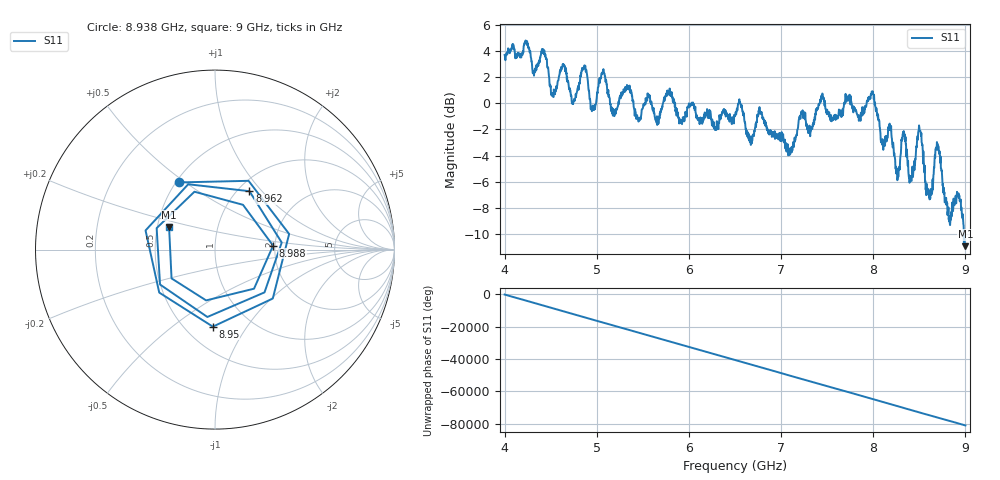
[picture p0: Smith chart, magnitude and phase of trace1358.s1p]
! Created with skrf 1.8.0 (http://scikit-rf.org).
# Hz S RI R 50.0
!freq ReS11 ImS11
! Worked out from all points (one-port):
!   1601 points, 4 GHz to 9 GHz, reference 50 ohm
!   lowest |S11| = -10.9 dB at 9 GHz (marker M1), VSWR 1.80, Z = 28.8 + j7.93 ohm
!   |S11| at or under -10 dB: 8.982568 GHz to 8.986958 GHz (4.39 MHz wide, 0.0489 % of centre); 8.989447 GHz to end of sweep
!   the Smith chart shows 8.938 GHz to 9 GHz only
!   S11 on the Smith chart (normalised r, x): 8.938 GHz: 0.52, +0.47; 8.95 GHz: 0.67, -0.71; 8.962 GHz: 1.13, +0.86; 8.988 GHz: 1.95, +0.10; 9 GHz: 0.58, +0.16
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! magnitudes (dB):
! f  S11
! 4 GHz  3.7
! 4.422 GHz  4.0
! 4.528 GHz  0.5
! 4.625 GHz  2.7
! 4.744 GHz  0.0
! 4.862 GHz  2.7
! 4.956 GHz  -0.2
! 5.062 GHz  2.3
! 5.25 GHz  0.5
! 5.875 GHz  -0.9
! 6.5 GHz  -1.0
! 7.125 GHz  -3.3
! 7.222 GHz  -0.7
! 7.75 GHz  0.2
! 7.988 GHz  0.8
! 8.262 GHz  -5.9
! 8.328 GHz  -2.4
! 8.375 GHz  -4.8
! 8.416 GHz  -5.9
! 8.503 GHz  -2.1
! 8.594 GHz  -6.9
! 8.697 GHz  -3.1
! 8.825 GHz  -9.0
! 8.938 GHz  -7.4
! 8.95 GHz  -7.3
! 8.962 GHz  -8.5
! 8.988 GHz  -9.8
! 9 GHz  -10.9
